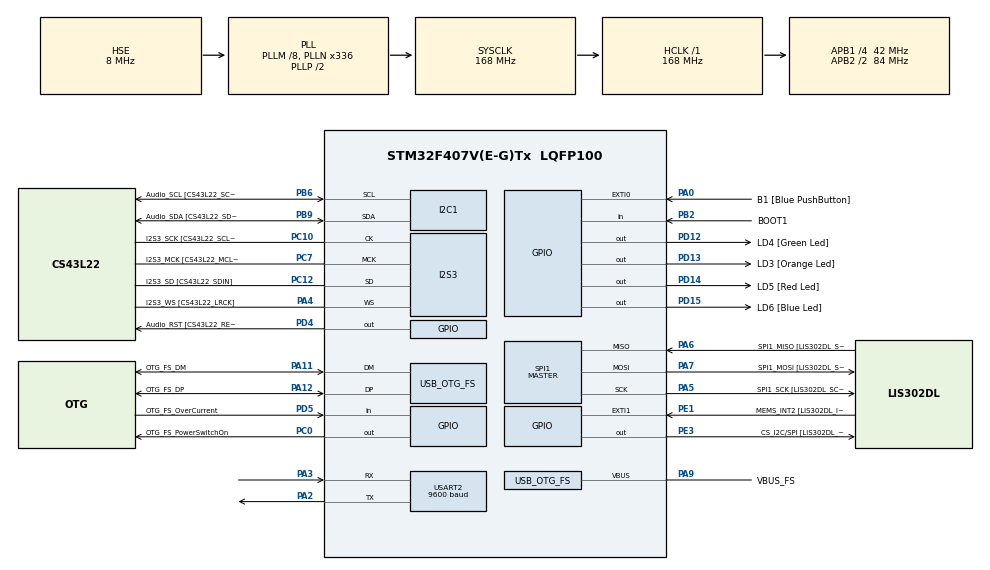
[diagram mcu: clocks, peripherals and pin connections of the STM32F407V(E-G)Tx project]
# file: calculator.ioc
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I2S3.AudioFreq-Half_Duplex_Master=I2S_AUDIOFREQ_96K
I2S3.ErrorAudioFreq=-2.34 %
I2S3.ErrorAudioFreq-Half_Duplex_Master=0.8 %
I2S3.FullDuplexMode=I2S_FULLDUPLEXMODE_DISABLE
I2S3.Instance=SPI$Index
I2S3.RealAudioFreq=93.75 KHz
I2S3.RealAudioFreq-Half_Duplex_Master=96.774 KHz
I2S3.VirtualMode=I2S_MODE_MASTER
Mcu.Family=STM32F4
Mcu.Name=STM32F407V(E-G)Tx
Mcu.Package=LQFP100
NVIC.OTG_FS_IRQn=true\:0\:0\:false\:false\:true\:true\:true\:true
NVIC.PriorityGroup=NVIC_PRIORITYGROUP_0
NVIC.USART2_IRQn=true\:0\:0\:false\:false\:true\:true\:true\:true
PA0-WKUP.GPIO_Label=B1 [Blue PushButton]
PA0-WKUP.GPIO_ModeDefaultEXTI=GPIO_MODE_EVT_RISING
PA0-WKUP.GPIO_PuPd=GPIO_NOPULL
PA0-WKUP.Signal=GPXTI0
PA10.GPIO_Label=OTG_FS_ID
PA10.GPIO_Mode=GPIO_MODE_AF_PP
PA10.GPIO_PuPd=GPIO_NOPULL
PA10.GPIO_Speed=GPIO_SPEED_FREQ_LOW
PA10.Signal=USB_OTG_FS_ID
PA11.GPIO_Label=OTG_FS_DM
PA11.GPIO_Mode=GPIO_MODE_AF_PP
PA11.GPIO_PuPd=GPIO_NOPULL
PA11.GPIO_Speed=GPIO_SPEED_FREQ_LOW
PA11.Mode=Host_Only
PA11.Signal=USB_OTG_FS_DM
PA12.GPIO_Label=OTG_FS_DP
PA12.GPIO_Mode=GPIO_MODE_AF_PP
PA12.GPIO_PuPd=GPIO_NOPULL
PA12.GPIO_Speed=GPIO_SPEED_FREQ_LOW
PA12.Mode=Host_Only
PA12.Signal=USB_OTG_FS_DP
PA13.GPIO_Label=SWDIO
PA13.Mode=Serial_Wire
PA13.Signal=SYS_JTMS-SWDIO
PA14.GPIO_Label=SWCLK
PA14.Mode=Serial_Wire
PA14.Signal=SYS_JTCK-SWCLK
PA2.Mode=Asynchronous
PA2.Signal=USART2_TX
PA3.Mode=Asynchronous
PA3.Signal=USART2_RX
PA4.GPIO_Label=I2S3_WS [CS43L22_LRCK]
PA4.GPIO_Mode=GPIO_MODE_AF_PP
PA4.GPIO_PuPd=GPIO_NOPULL
PA4.GPIO_Speed=GPIO_SPEED_FREQ_LOW
PA4.Mode=Half_Duplex_Master
PA4.Signal=I2S3_WS
PA5.GPIO_Label=SPI1_SCK [LIS302DL_SCL/SPC]
PA5.GPIO_Mode=GPIO_MODE_AF_PP
PA5.GPIO_PuPd=GPIO_NOPULL
PA5.GPIO_Speed=GPIO_SPEED_FREQ_LOW
PA5.Mode=Full_Duplex_Master
PA5.Signal=SPI1_SCK
PA6.GPIO_Label=SPI1_MISO [LIS302DL_SDO]
PA6.GPIO_Mode=GPIO_MODE_AF_PP
PA6.GPIO_PuPd=GPIO_NOPULL
PA6.GPIO_Speed=GPIO_SPEED_FREQ_LOW
PA6.Mode=Full_Duplex_Master
PA6.Signal=SPI1_MISO
PA7.GPIO_Label=SPI1_MOSI [LIS302DL_SDA/SDI/SDO]
PA7.GPIO_Mode=GPIO_MODE_AF_PP
PA7.GPIO_PuPd=GPIO_NOPULL
PA7.GPIO_Speed=GPIO_SPEED_FREQ_LOW
PA7.Mode=Full_Duplex_Master
PA7.Signal=SPI1_MOSI
PA9.GPIO_Label=VBUS_FS
PA9.GPIO_Mode=GPIO_MODE_INPUT
PA9.GPIO_PuPd=GPIO_NOPULL
PA9.Mode=Activate_VBUS
PA9.Signal=USB_OTG_FS_VBUS
PB10.GPIO_Label=CLK_IN [MP45DT02_CLK]
PB10.GPIO_Mode=GPIO_MODE_AF_PP
PB10.GPIO_PuPd=GPIO_NOPULL
PB10.GPIO_Speed=GPIO_SPEED_FREQ_LOW
PB10.Signal=I2S2_CK
PB2.GPIO_Label=BOOT1
PB2.GPIO_Mode=GPIO_MODE_INPUT
PB2.GPIO_PuPd=GPIO_NOPULL
PB2.Signal=GPIO_Input
PB3.GPIO_Label=SWO
PB3.Signal=SYS_JTDO-SWO
PB6.GPIO_Label=Audio_SCL [CS43L22_SCL]
PB6.GPIO_Mode=GPIO_MODE_AF_OD
PB6.GPIO_Pu=GPIO_PULLUP
PB6.GPIO_PuPd=GPIO_NOPULL
PB6.GPIO_Speed=GPIO_SPEED_FREQ_LOW
PB6.Mode=I2C
PB6.Signal=I2C1_SCL
PB9.GPIO_Label=Audio_SDA [CS43L22_SDA]
PB9.GPIO_Mode=GPIO_MODE_AF_OD
PB9.GPIO_Pu=GPIO_PULLUP
PB9.GPIO_PuPd=GPIO_NOPULL
PB9.GPIO_Speed=GPIO_SPEED_FREQ_LOW
PB9.Mode=I2C
PB9.Signal=I2C1_SDA
PC0.GPIO_Label=OTG_FS_PowerSwitchOn
PC0.GPIO_PuPd=GPIO_NOPULL
PC0.GPIO_Speed=GPIO_SPEED_FREQ_LOW
PC0.PinState=GPIO_PIN_SET
PC0.Signal=GPIO_Output
PC10.GPIO_Label=I2S3_SCK [CS43L22_SCLK]
PC10.GPIO_Mode=GPIO_MODE_AF_PP
PC10.GPIO_PuPd=GPIO_NOPULL
PC10.GPIO_Speed=GPIO_SPEED_FREQ_LOW
PC10.Mode=Half_Duplex_Master
PC10.Signal=I2S3_CK
PC12.GPIO_Label=I2S3_SD [CS43L22_SDIN]
PC12.GPIO_Mode=GPIO_MODE_AF_PP
PC12.GPIO_PuPd=GPIO_NOPULL
PC12.GPIO_Speed=GPIO_SPEED_FREQ_LOW
PC12.Mode=Half_Duplex_Master
PC12.Signal=I2S3_SD
PC14-OSC32_IN.GPIO_Label=PC14-OSC32_IN
PC14-OSC32_IN.Mode=LSE-External-Oscillator
PC14-OSC32_IN.Signal=RCC_OSC32_IN
PC15-OSC32_OUT.GPIO_Label=PC15-OSC32_OUT
PC15-OSC32_OUT.Mode=LSE-External-Oscillator
PC15-OSC32_OUT.Signal=RCC_OSC32_OUT
PC3.GPIO_Label=PDM_OUT [MP45DT02_DOUT]
PC3.GPIO_Mode=GPIO_MODE_AF_PP
PC3.GPIO_PuPd=GPIO_NOPULL
PC3.GPIO_Speed=GPIO_SPEED_FREQ_LOW
PC3.Signal=I2S2_SD
PC7.GPIO_Label=I2S3_MCK [CS43L22_MCLK]
PC7.GPIO_Mode=GPIO_MODE_AF_PP
PC7.GPIO_PuPd=GPIO_NOPULL
PC7.GPIO_Speed=GPIO_SPEED_FREQ_LOW
PC7.Mode=Master_Clock_Activated
PC7.Signal=I2S3_MCK
PD12.GPIO_Label=LD4 [Green Led]
PD12.GPIO_PuPd=GPIO_NOPULL
PD12.GPIO_Speed=GPIO_SPEED_FREQ_LOW
PD12.Signal=GPIO_Output
PD13.GPIO_Label=LD3 [Orange Led]
PD13.GPIO_PuPd=GPIO_NOPULL
PD13.GPIO_Speed=GPIO_SPEED_FREQ_LOW
PD13.Signal=GPIO_Output
PD14.GPIO_Label=LD5 [Red Led]
PD14.GPIO_PuPd=GPIO_NOPULL
PD14.GPIO_Speed=GPIO_SPEED_FREQ_LOW
PD14.Signal=GPIO_Output
PD15.GPIO_Label=LD6 [Blue Led]
PD15.GPIO_PuPd=GPIO_NOPULL
PD15.GPIO_Speed=GPIO_SPEED_FREQ_LOW
PD15.Signal=GPIO_Output
PD4.GPIO_Label=Audio_RST [CS43L22_RESET]
PD4.GPIO_PuPd=GPIO_NOPULL
PD4.GPIO_Speed=GPIO_SPEED_FREQ_LOW
PD4.Signal=GPIO_Output
PD5.GPIO_Label=OTG_FS_OverCurrent
PD5.GPIO_Mode=GPIO_MODE_INPUT
PD5.GPIO_PuPd=GPIO_NOPULL
PD5.Signal=GPIO_Input
PE1.GPIO_Label=MEMS_INT2 [LIS302DL_INT2]
PE1.GPIO_ModeDefaultEXTI=GPIO_MODE_EVT_RISING
PE1.GPIO_PuPd=GPIO_NOPULL
PE1.Signal=GPXTI1
PE3.GPIO_Label=CS_I2C/SPI [LIS302DL_CS_I2C/SPI]
PE3.GPIO_PuPd=GPIO_NOPULL
PE3.GPIO_Speed=GPIO_SPEED_FREQ_LOW
PE3.Signal=GPIO_Output
PH0-OSC_IN.GPIO_Label=PH0-OSC_IN
PH0-OSC_IN.Mode=HSE-External-Oscillator
PH0-OSC_IN.Signal=RCC_OSC_IN
PH1-OSC_OUT.GPIO_Label=PH1-OSC_OUT
PH1-OSC_OUT.Mode=HSE-External-Oscillator
PH1-OSC_OUT.Signal=RCC_OSC_OUT
ProjectManager.HeapSize=0x200
ProjectManager.StackSize=0x400
ProjectManager.TargetToolchain=STM32CubeIDE
RCC.48MHZClocksFreq_Value=48000000
RCC.AHBFreq_Value=168000000
RCC.APB1CLKDivider=RCC_HCLK_DIV4
RCC.APB1Freq_Value=42000000
RCC.APB1TimFreq_Value=84000000
RCC.APB2CLKDivider=RCC_HCLK_DIV2
RCC.APB2Freq_Value=84000000
RCC.APB2TimFreq_Value=168000000
RCC.CortexFreq_Value=168000000
RCC.HCLKFreq_Value=168000000
RCC.HSE_VALUE=8000000
RCC.HSI_VALUE=16000000
RCC.PLLM=8
RCC.PLLN=336
RCC.PLLQ=7
RCC.SYSCLKFreq_VALUE=168000000
RCC.SYSCLKSource=RCC_SYSCLKSOURCE_PLLCLK
RCC.VCOOutputFreq_Value=336000000
SPI1.BaudRatePrescaler-Full_Duplex_Master=SPI_BAUDRATEPRESCALER_2
SPI1.CalculateBaudRate-Full_Duplex_Master=42.0 MBits/s
SPI1.Direction=SPI_DIRECTION_2LINES
SPI1.Mode=SPI_MODE_MASTER
SPI1.Mode-Full_Duplex_Master=SPI_MODE_MASTER
SPI1.VirtualType=VM_MASTER
USART2.BaudRate=9600
USART2.VirtualMode=VM_ASYNC
USB_HOST.BSP.number=1
USB_HOST.USBH_HandleTypeDef-CDC_FS=hUsbHostFS
USB_HOST.VirtualModeFS=Cdc
USB_HOST0.BSP.STBoard=false
USB_HOST0.BSP.api=Unknown
USB_HOST0.BSP.instance=PC0
USB_HOST0.BSP.ip=GPIO
USB_HOST0.BSP.mode=Output
USB_HOST0.BSP.name=Drive_VBUS_FS
USB_HOST0.BSP.solution=PC0
USB_OTG_FS.VirtualMode=Host_Only
USB_OTG_FS.phy_itface=HCD_PHY_EMBEDDED
VP_USB_HOST_VS_USB_HOST_CDC_FS.Mode=CDC_FS
board=STM32F407G-DISC1

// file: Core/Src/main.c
/* USER CODE BEGIN Header */
/**
  ******************************************************************************
  * @file           : main.c
  * @brief          : Main program body
  ******************************************************************************
  * @attention
  *
  * Copyright (c) 2026 STMicroelectronics.
  * All rights reserved.
  *
  * This software is licensed under terms that can be found in the LICENSE file
  * in the root directory of this software component.
  * If no LICENSE file comes with this software, it is provided AS-IS.
  *
  ******************************************************************************
  */
/* USER CODE END Header */
#include "main.h"
#include "usb_host.h"

/* USER CODE BEGIN Includes */
#include<stdio.h>
#include<stdlib.h>
#include<string.h>
/* USER CODE END Includes */

I2C_HandleTypeDef hi2c1;

I2S_HandleTypeDef hi2s3;

SPI_HandleTypeDef hspi1;

UART_HandleTypeDef huart2;

/* USER CODE BEGIN PV */
uint8_t data; // Buffer to store 1-byte incoming UART data from Nextion
uint8_t end[] ={0xFF,0xFF,0xFF};// Nextion instruction termination symbols
uint8_t index2 = 0;// Index pointer for the input buffer
uint8_t calculate = 0;// Flag to trigger calculation when '=' is pressed
char buffer[50];// Buffer to store the mathematical expression string
/* USER CODE END PV */

void SystemClock_Config(void);
static void MX_GPIO_Init(void);
static void MX_I2C1_Init(void);
static void MX_I2S3_Init(void);
static void MX_SPI1_Init(void);
static void MX_USART2_UART_Init(void);
void MX_USB_HOST_Process(void);

/* USER CODE BEGIN PFP */
// Function to determine the priority of mathematical operators
int get_precedence(char op);
// Function to convert Infix notation (1+2) to Postfix/RPN notation (1 2 +)
void infix_to_postfix(char* infix, char* postfix);
// Calculates the final numerical result from a postfix string
float postfix(char* postfix);
/* USER CODE END PFP */

int main(void)
{

  /* MCU Configuration--------------------------------------------------------*/

  /* Reset of all peripherals, Initializes the Flash interface and the Systick. */
  HAL_Init();

  /* Configure the system clock */
  SystemClock_Config();

  /* Initialize all configured peripherals */
  MX_GPIO_Init();
  MX_I2C1_Init();
  MX_I2S3_Init();
  MX_SPI1_Init();
  MX_USART2_UART_Init();
  MX_USB_HOST_Init();
  /* USER CODE BEGIN 2 */
HAL_UART_Receive_IT(&huart2,&data,1);
  /* USER CODE END 2 */

  /* Infinite loop */
  while (1)
  {
    MX_USB_HOST_Process();

    /* USER CODE BEGIN 3 */
    if(calculate == 1){
    	char postfix_buffer[100];// Stores the converted RPN string
    	char tx_buffer[50];// Stores the UART command string for Nextion
    	// Step 1: Convert current input to Postfix notation
    	infix_to_postfix(buffer,postfix_buffer);
    	// Step 2: Compute the mathematical result
    	float calt = postfix(postfix_buffer);
    	// Step 3: Format the result for page1's text box
    	sprintf(tx_buffer,"t0.txt=\"%.2f\"",calt);
    	// Step 4: Transmit the command and termination sequence to Nextion
    	HAL_UART_Transmit(&huart2,(uint8_t *)tx_buffer,strlen(tx_buffer),100);
    	HAL_UART_Transmit(&huart2,end,3,100);
    	// Step 5: Reset system variables for the next calculation
    	index2= 0;
    	buffer[0] = '\0';
    	calculate = 0;
    }

  }
  /* USER CODE END 3 */
}

void SystemClock_Config(void)
{
  RCC_OscInitTypeDef RCC_OscInitStruct = {0};
  RCC_ClkInitTypeDef RCC_ClkInitStruct = {0};

  /** Configure the main internal regulator output voltage
  */
  __HAL_RCC_PWR_CLK_ENABLE();
  __HAL_PWR_VOLTAGESCALING_CONFIG(PWR_REGULATOR_VOLTAGE_SCALE1);

  /** Initializes the RCC Oscillators according to the specified parameters
  * in the RCC_OscInitTypeDef structure.
  */
  RCC_OscInitStruct.OscillatorType = RCC_OSCILLATORTYPE_HSE;
  RCC_OscInitStruct.HSEState = RCC_HSE_ON;
  RCC_OscInitStruct.PLL.PLLState = RCC_PLL_ON;
  RCC_OscInitStruct.PLL.PLLSource = RCC_PLLSOURCE_HSE;
  RCC_OscInitStruct.PLL.PLLM = 8;
  RCC_OscInitStruct.PLL.PLLN = 336;
  RCC_OscInitStruct.PLL.PLLP = RCC_PLLP_DIV2;
  RCC_OscInitStruct.PLL.PLLQ = 7;
  if (HAL_RCC_OscConfig(&RCC_OscInitStruct) != HAL_OK)
  {
    Error_Handler();
  }

  /** Initializes the CPU, AHB and APB buses clocks
  */
  RCC_ClkInitStruct.ClockType = RCC_CLOCKTYPE_HCLK|RCC_CLOCKTYPE_SYSCLK
                              |RCC_CLOCKTYPE_PCLK1|RCC_CLOCKTYPE_PCLK2;
  RCC_ClkInitStruct.SYSCLKSource = RCC_SYSCLKSOURCE_PLLCLK;
  RCC_ClkInitStruct.AHBCLKDivider = RCC_SYSCLK_DIV1;
  RCC_ClkInitStruct.APB1CLKDivider = RCC_HCLK_DIV4;
  RCC_ClkInitStruct.APB2CLKDivider = RCC_HCLK_DIV2;

  if (HAL_RCC_ClockConfig(&RCC_ClkInitStruct, FLASH_LATENCY_5) != HAL_OK)
  {
    Error_Handler();
  }
}

static void MX_I2C1_Init(void)
{

  hi2c1.Instance = I2C1;
  hi2c1.Init.ClockSpeed = 100000;
  hi2c1.Init.DutyCycle = I2C_DUTYCYCLE_2;
  hi2c1.Init.OwnAddress1 = 0;
  hi2c1.Init.AddressingMode = I2C_ADDRESSINGMODE_7BIT;
  hi2c1.Init.DualAddressMode = I2C_DUALADDRESS_DISABLE;
  hi2c1.Init.OwnAddress2 = 0;
  hi2c1.Init.GeneralCallMode = I2C_GENERALCALL_DISABLE;
  hi2c1.Init.NoStretchMode = I2C_NOSTRETCH_DISABLE;
  if (HAL_I2C_Init(&hi2c1) != HAL_OK)
  {
    Error_Handler();
  }

}

static void MX_I2S3_Init(void)
{

  hi2s3.Instance = SPI3;
  hi2s3.Init.Mode = I2S_MODE_MASTER_TX;
  hi2s3.Init.Standard = I2S_STANDARD_PHILIPS;
  hi2s3.Init.DataFormat = I2S_DATAFORMAT_16B;
  hi2s3.Init.MCLKOutput = I2S_MCLKOUTPUT_ENABLE;
  hi2s3.Init.AudioFreq = I2S_AUDIOFREQ_96K;
  hi2s3.Init.CPOL = I2S_CPOL_LOW;
  hi2s3.Init.ClockSource = I2S_CLOCK_PLL;
  hi2s3.Init.FullDuplexMode = I2S_FULLDUPLEXMODE_DISABLE;
  if (HAL_I2S_Init(&hi2s3) != HAL_OK)
  {
    Error_Handler();
  }

}

static void MX_SPI1_Init(void)
{

  /* SPI1 parameter configuration*/
  hspi1.Instance = SPI1;
  hspi1.Init.Mode = SPI_MODE_MASTER;
  hspi1.Init.Direction = SPI_DIRECTION_2LINES;
  hspi1.Init.DataSize = SPI_DATASIZE_8BIT;
  hspi1.Init.CLKPolarity = SPI_POLARITY_LOW;
  hspi1.Init.CLKPhase = SPI_PHASE_1EDGE;
  hspi1.Init.NSS = SPI_NSS_SOFT;
  hspi1.Init.BaudRatePrescaler = SPI_BAUDRATEPRESCALER_2;
  hspi1.Init.FirstBit = SPI_FIRSTBIT_MSB;
  hspi1.Init.TIMode = SPI_TIMODE_DISABLE;
  hspi1.Init.CRCCalculation = SPI_CRCCALCULATION_DISABLE;
  hspi1.Init.CRCPolynomial = 10;
  if (HAL_SPI_Init(&hspi1) != HAL_OK)
  {
    Error_Handler();
  }

}

static void MX_USART2_UART_Init(void)
{

  huart2.Instance = USART2;
  huart2.Init.BaudRate = 9600;
  huart2.Init.WordLength = UART_WORDLENGTH_8B;
  huart2.Init.StopBits = UART_STOPBITS_1;
  huart2.Init.Parity = UART_PARITY_NONE;
  huart2.Init.Mode = UART_MODE_TX_RX;
  huart2.Init.HwFlowCtl = UART_HWCONTROL_NONE;
  huart2.Init.OverSampling = UART_OVERSAMPLING_16;
  if (HAL_UART_Init(&huart2) != HAL_OK)
  {
    Error_Handler();
  }

}

static void MX_GPIO_Init(void)
{
  GPIO_InitTypeDef GPIO_InitStruct = {0};

  /* GPIO Ports Clock Enable */
  __HAL_RCC_GPIOE_CLK_ENABLE();
  __HAL_RCC_GPIOC_CLK_ENABLE();
  __HAL_RCC_GPIOH_CLK_ENABLE();
  __HAL_RCC_GPIOA_CLK_ENABLE();
  __HAL_RCC_GPIOB_CLK_ENABLE();
  __HAL_RCC_GPIOD_CLK_ENABLE();

  /*Configure GPIO pin Output Level */
  HAL_GPIO_WritePin(CS_I2C_SPI_GPIO_Port, CS_I2C_SPI_Pin, GPIO_PIN_RESET);

  /*Configure GPIO pin Output Level */
  HAL_GPIO_WritePin(OTG_FS_PowerSwitchOn_GPIO_Port, OTG_FS_PowerSwitchOn_Pin, GPIO_PIN_SET);

  /*Configure GPIO pin Output Level */
  HAL_GPIO_WritePin(GPIOD, LD4_Pin|LD3_Pin|LD5_Pin|LD6_Pin
                          |Audio_RST_Pin, GPIO_PIN_RESET);

  /*Configure GPIO pin : CS_I2C_SPI_Pin */
  GPIO_InitStruct.Pin = CS_I2C_SPI_Pin;
  GPIO_InitStruct.Mode = GPIO_MODE_OUTPUT_PP;
  GPIO_InitStruct.Pull = GPIO_NOPULL;
  GPIO_InitStruct.Speed = GPIO_SPEED_FREQ_LOW;
  HAL_GPIO_Init(CS_I2C_SPI_GPIO_Port, &GPIO_InitStruct);

  /*Configure GPIO pin : OTG_FS_PowerSwitchOn_Pin */
  GPIO_InitStruct.Pin = OTG_FS_PowerSwitchOn_Pin;
  GPIO_InitStruct.Mode = GPIO_MODE_OUTPUT_PP;
  GPIO_InitStruct.Pull = GPIO_NOPULL;
  GPIO_InitStruct.Speed = GPIO_SPEED_FREQ_LOW;
  HAL_GPIO_Init(OTG_FS_PowerSwitchOn_GPIO_Port, &GPIO_InitStruct);

  /*Configure GPIO pin : PDM_OUT_Pin */
  GPIO_InitStruct.Pin = PDM_OUT_Pin;
  GPIO_InitStruct.Mode = GPIO_MODE_AF_PP;
  GPIO_InitStruct.Pull = GPIO_NOPULL;
  GPIO_InitStruct.Speed = GPIO_SPEED_FREQ_LOW;
  GPIO_InitStruct.Alternate = GPIO_AF5_SPI2;
  HAL_GPIO_Init(PDM_OUT_GPIO_Port, &GPIO_InitStruct);

  /*Configure GPIO pin : B1_Pin */
  GPIO_InitStruct.Pin = B1_Pin;
  GPIO_InitStruct.Mode = GPIO_MODE_EVT_RISING;
  GPIO_InitStruct.Pull = GPIO_NOPULL;
  HAL_GPIO_Init(B1_GPIO_Port, &GPIO_InitStruct);

  /*Configure GPIO pin : BOOT1_Pin */
  GPIO_InitStruct.Pin = BOOT1_Pin;
  GPIO_InitStruct.Mode = GPIO_MODE_INPUT;
  GPIO_InitStruct.Pull = GPIO_NOPULL;
  HAL_GPIO_Init(BOOT1_GPIO_Port, &GPIO_InitStruct);

  /*Configure GPIO pin : CLK_IN_Pin */
  GPIO_InitStruct.Pin = CLK_IN_Pin;
  GPIO_InitStruct.Mode = GPIO_MODE_AF_PP;
  GPIO_InitStruct.Pull = GPIO_NOPULL;
  GPIO_InitStruct.Speed = GPIO_SPEED_FREQ_LOW;
  GPIO_InitStruct.Alternate = GPIO_AF5_SPI2;
  HAL_GPIO_Init(CLK_IN_GPIO_Port, &GPIO_InitStruct);

  /*Configure GPIO pins : LD4_Pin LD3_Pin LD5_Pin LD6_Pin
                           Audio_RST_Pin */
  GPIO_InitStruct.Pin = LD4_Pin|LD3_Pin|LD5_Pin|LD6_Pin
                          |Audio_RST_Pin;
  GPIO_InitStruct.Mode = GPIO_MODE_OUTPUT_PP;
  GPIO_InitStruct.Pull = GPIO_NOPULL;
  GPIO_InitStruct.Speed = GPIO_SPEED_FREQ_LOW;
  HAL_GPIO_Init(GPIOD, &GPIO_InitStruct);

  /*Configure GPIO pin : OTG_FS_OverCurrent_Pin */
  GPIO_InitStruct.Pin = OTG_FS_OverCurrent_Pin;
  GPIO_InitStruct.Mode = GPIO_MODE_INPUT;
  GPIO_InitStruct.Pull = GPIO_NOPULL;
  HAL_GPIO_Init(OTG_FS_OverCurrent_GPIO_Port, &GPIO_InitStruct);

  /*Configure GPIO pin : MEMS_INT2_Pin */
  GPIO_InitStruct.Pin = MEMS_INT2_Pin;
  GPIO_InitStruct.Mode = GPIO_MODE_EVT_RISING;
  GPIO_InitStruct.Pull = GPIO_NOPULL;
  HAL_GPIO_Init(MEMS_INT2_GPIO_Port, &GPIO_InitStruct);

}

/* USER CODE BEGIN 4 */
/**
 * @brief UART Receive Callback
 * Processes incoming characters from Nextion and echoes them back for visual feedback
 */
void HAL_UART_RxCpltCallback(UART_HandleTypeDef *huart){
	if(huart->Instance == USART2){
		if(data == '='){
				buffer[index2] = '\0';// Terminate string on equality sign
				calculate = 1;// Set flag for main loop processing
		}else if(data == 'C'){
			index2 = 0;
			buffer[0] = '\0';// Reset local expression
			calculate = 0;
			// Clear the display on Nextion page0
			char clear_cmd[] = "page0.t0.txt=\"\"";
			HAL_UART_Transmit(&huart2, (uint8_t*)clear_cmd, strlen(clear_cmd), 100);
			HAL_UART_Transmit(&huart2, end, 3, 100);
		}else{
			if(index2 < 48){
				buffer[index2] = data;
				buffer[index2 + 1] = '\0';// Ensure string is null-terminated for sprintf
				index2++;
				// Echo current expression back to Nextion's input screen
				char echo_cmd[60];
				sprintf(echo_cmd, "t0.txt=\"%s\"", buffer);
				HAL_UART_Transmit(&huart2, (uint8_t*)echo_cmd, strlen(echo_cmd), 100);
				HAL_UART_Transmit(&huart2, end, 3, 100);
			}
		}
		// Re-enable UART interrupt for the next character
		HAL_UART_Receive_IT(&huart2,&data,1);
	}
}
/**
 * @brief Determines the mathematical precedence of an operator
 * Higher return value indicates higher priority in calculation (e.g., * is calculated before +)
 * @param op The operator character to check (+, -, *, /, %)
 * @return int Precedence level: 2 (High), 1 (Low), or 0 (Non-operator)
 */
int get_precedence(char op) {
    if (op == '*' || op == '/' || op == '%') {
        return 2;// High priority: Multiplicative and Modulo operators
    }
    else if (op == '+' || op == '-') {
        return 1;// Low priority: Additive operators
    }
    return 0;// Return 0 if the character is not a defined operator
}
/**
 * @brief Shunting-yard Algorithm
 * Transforms infix notation to Postfix (RPN) to handle order of operations
 */
void infix_to_postfix(char* infix,char* postfix){
	char operator[50];
	int stack = -1;
	int i = 0, j = 0;

	while(infix[i] != '\0'){
		// If digit, write directly to the output string
		if(infix[i] >= '0' && infix[i]<='9'){
			while(infix[i] >= '0' && infix[i] <= '9'){
				postfix[j++] = infix[i++];
			}
			postfix[j++]= ' ';// Add space separator
			i--;
		// Handle operators based on precedence
		}else if(infix[i] == '+' || infix[i] == '-' || infix[i] == '*'||infix[i] == '/' || infix[i] == '%'){
			while(stack != -1 && get_precedence(operator[stack]) >= get_precedence(infix[i])){
				postfix[j++] = operator[stack--];
				postfix[j++]= ' ';
			}
			operator[++stack] = infix[i];
		}
		i++;
	}
	// Flush remaining operators in the stack
	while(stack != -1){
			postfix[j++] = operator[stack--];
			postfix[j++] = ' ';
		}
		postfix[j] = '\0';
}
/**
 * @brief Postfix Evaluation
 * Computes the final float result from an RPN string using a calculation stack
 */
float postfix(char* postfix){
	float stack[50];
	int top = -1;
	char *token = strtok(postfix," ");// Tokenize expression by spaces
	while(token != NULL){
		// If token is a number, push to stack
		if(token[0] >= '0' && token[0] <= '9'){
			stack[++top] = atof(token);
		}else{// If token is an operator, pop two operands and compute
			float val2 = stack[top--];
			float val1 = stack[top--];
			switch(token[0]){
			case '+': stack[++top] =val1 + val2;break;
			case '-': stack[++top] =val1-val2;break;
			case '*': stack[++top] =val1 * val2;break;
			case '/':
				if(val2 != 0) stack[++top] = val1 / val2;
				else stack[++top] = 0;
				break;
			case '%':
				if(val2 != 0) stack[++top] = (int)val1 % (int)val2;
				else stack[++top] = 0;
				break;
			}
		}
		token =strtok(NULL, " ");
	}
	return stack[top];// Remaining stack element is the final result
}
/* USER CODE END 4 */

void Error_Handler(void)
{
  __disable_irq();
  while (1)
  {
  }
}
